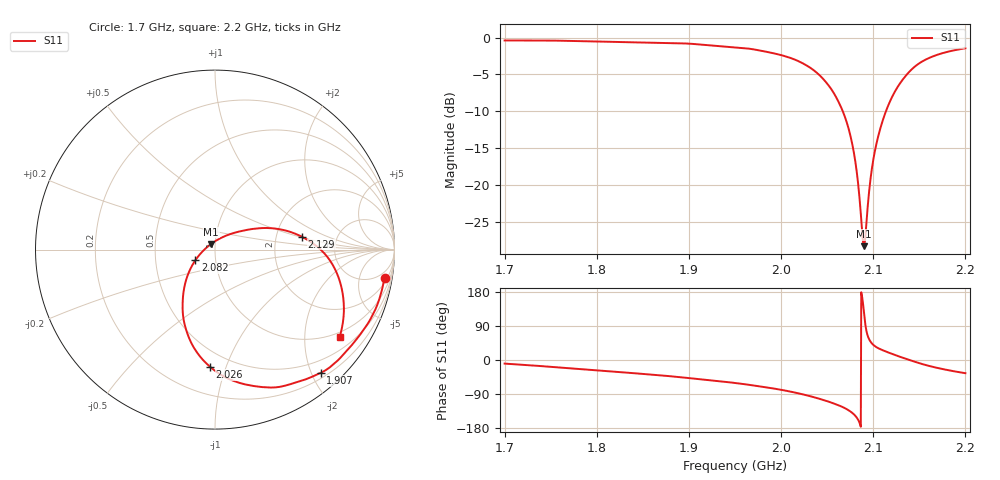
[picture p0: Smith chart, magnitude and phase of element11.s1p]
# Hz S RI R 50
! CMT, CMT808U, 21440046, 21.4.3/4
! Date: 12/1/2025 1:46:39 PM
! Data: Format (Calibration Info)
! Freq	S11:Re/Im(F2)
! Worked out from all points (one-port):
!   1001 points, 1.7 GHz to 2.2 GHz, reference 50 ohm
!   lowest |S11| = -28.3 dB at 2.09 GHz (marker M1), VSWR 1.08, Z = 47.8 + j3.03 ohm
!   |S11| at or under -10 dB: 2.067 GHz to 2.114 GHz (46.85 MHz wide, 2.24 % of centre)
!   S11 on the Smith chart (normalised r, x): 1.7 GHz: 3, -11; 1.907 GHz: 0.28, -2.14; 2.026 GHz: 0.39, -0.88; 2.082 GHz: 0.80, -0.10; 2.129 GHz: 2.80, +0.53; 2.2 GHz: 0.86, -2.96
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1.7e9  0.9445 -0.1581
1.7625e9  0.8951 -0.33
1.825e9  0.7922 -0.4948
1.8875e9  0.6536 -0.6447
1.9065e9  0.5891 -0.6866
1.95e9  0.4226 -0.7488
1.981e9  0.2614 -0.7658
2.0125e9  0.0679 -0.7162
2.0265e9  -0.0269 -0.6534
2.041e9  -0.1159 -0.5492
2.056e9  -0.1738 -0.3956
2.067e9  -0.1781 -0.2604
2.075e9  -0.1559 -0.1533
2.079e9  -0.1327 -0.0986
2.082e9  -0.1091 -0.0588
2.084e9  -0.0903 -0.0336
2.088e9  -0.0462 0.012
2.09e9  -0.0214 0.0317
2.092e9  0.00454 0.0489
2.096e9  0.0584 0.0764
2.0985e9  0.0924 0.0889
2.1045e9  0.1712 0.1085
2.1155e9  0.3153 0.1191
2.129e9  0.4835 0.0719
2.1375e9  0.5714 0.015
2.1495e9  0.6603 -0.0932
2.1625e9  0.7052 -0.2132
2.2e9  0.6953 -0.4842
